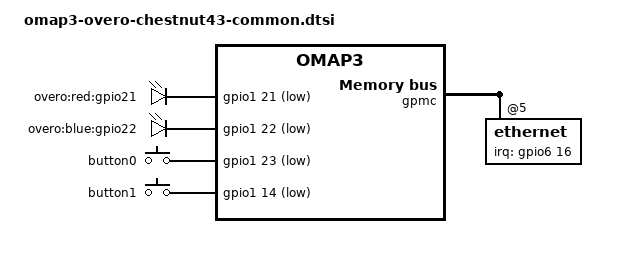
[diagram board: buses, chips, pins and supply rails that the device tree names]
// SPDX-License-Identifier: GPL-2.0-only
/*
 * Copyright (C) 2014 Florian Vaussard, EPFL Mobots group
 */

/*
 * Chestnut43 expansion board is manufactured by Gumstix Inc.
 */

#include "omap3-overo-common-peripherals.dtsi"
#include "omap3-overo-common-lcd43.dtsi"

#include <dt-bindings/input/input.h>

/ {
	leds {
		compatible = "gpio-leds";
		pinctrl-names = "default";
		pinctrl-0 = <&led_pins>;
		led-heartbeat {
			label = "overo:red:gpio21";
			gpios = <&gpio1 21 GPIO_ACTIVE_LOW>;		/* gpio_21 */
			linux,default-trigger = "heartbeat";
		};
		led-gpio22 {
			label = "overo:blue:gpio22";
			gpios = <&gpio1 22 GPIO_ACTIVE_LOW>;		/* gpio_22 */
		};
	};

	gpio_keys {
		compatible = "gpio-keys";
		pinctrl-names = "default";
		pinctrl-0 = <&button_pins>;
		#address-cells = <1>;
		#size-cells = <0>;
		button0 {
			label = "button0";
			linux,code = <BTN_0>;
			gpios = <&gpio1 23 GPIO_ACTIVE_LOW>;		/* gpio_23 */
			wakeup-source;
		};
		button1 {
			label = "button1";
			linux,code = <BTN_1>;
			gpios = <&gpio1 14 GPIO_ACTIVE_LOW>;		/* gpio_14 */
			wakeup-source;
		};
	};
};

#include "omap-gpmc-smsc9221.dtsi"

&gpmc {
	ethernet@gpmc {
		reg = <5 0 0xff>;
		interrupt-parent = <&gpio6>;
		interrupts = <16 IRQ_TYPE_LEVEL_LOW>;	/* GPIO 176 */
	};
};

&lis33de {
	status = "disabled";
};

